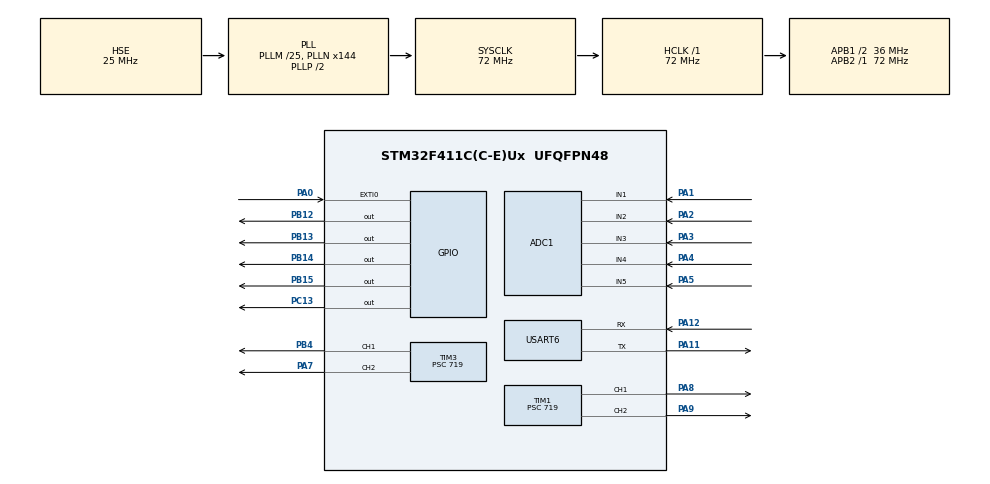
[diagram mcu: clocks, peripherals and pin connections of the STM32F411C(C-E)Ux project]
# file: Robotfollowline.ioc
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ADC1.Channel-1\#ChannelRegularConversion=ADC_CHANNEL_1
ADC1.Channel-2\#ChannelRegularConversion=ADC_CHANNEL_1
ADC1.Channel-3\#ChannelRegularConversion=ADC_CHANNEL_3
ADC1.Channel-4\#ChannelRegularConversion=ADC_CHANNEL_4
ADC1.Channel-5\#ChannelRegularConversion=ADC_CHANNEL_5
ADC1.ContinuousConvMode=ENABLE
ADC1.DMAContinuousRequests=ENABLE
ADC1.InjNumberOfConversion=0
ADC1.NbrOfConversion=5
ADC1.NbrOfConversionFlag=1
ADC1.Rank-1\#ChannelRegularConversion=1
ADC1.Rank-2\#ChannelRegularConversion=2
ADC1.Rank-3\#ChannelRegularConversion=3
ADC1.Rank-4\#ChannelRegularConversion=4
ADC1.Rank-5\#ChannelRegularConversion=5
ADC1.SamplingTime-1\#ChannelRegularConversion=ADC_SAMPLETIME_56CYCLES
ADC1.SamplingTime-2\#ChannelRegularConversion=ADC_SAMPLETIME_56CYCLES
ADC1.SamplingTime-3\#ChannelRegularConversion=ADC_SAMPLETIME_56CYCLES
ADC1.SamplingTime-4\#ChannelRegularConversion=ADC_SAMPLETIME_56CYCLES
ADC1.SamplingTime-5\#ChannelRegularConversion=ADC_SAMPLETIME_56CYCLES
ADC1.master=1
Dma.ADC1.0.Direction=DMA_PERIPH_TO_MEMORY
Dma.ADC1.0.FIFOMode=DMA_FIFOMODE_DISABLE
Dma.ADC1.0.Instance=DMA2_Stream0
Dma.ADC1.0.MemDataAlignment=DMA_MDATAALIGN_HALFWORD
Dma.ADC1.0.MemInc=DMA_MINC_ENABLE
Dma.ADC1.0.Mode=DMA_CIRCULAR
Dma.ADC1.0.PeriphDataAlignment=DMA_PDATAALIGN_HALFWORD
Dma.ADC1.0.PeriphInc=DMA_PINC_DISABLE
Dma.ADC1.0.Priority=DMA_PRIORITY_LOW
Dma.Request0=ADC1
Dma.Request1=TIM1_CH1
Dma.Request2=TIM1_CH2
Dma.Request3=TIM3_CH1/TRIG
Dma.Request4=TIM3_CH2
Dma.TIM1_CH1.1.Direction=DMA_MEMORY_TO_PERIPH
Dma.TIM1_CH1.1.FIFOMode=DMA_FIFOMODE_DISABLE
Dma.TIM1_CH1.1.Instance=DMA2_Stream1
Dma.TIM1_CH1.1.MemDataAlignment=DMA_MDATAALIGN_HALFWORD
Dma.TIM1_CH1.1.MemInc=DMA_MINC_ENABLE
Dma.TIM1_CH1.1.Mode=DMA_NORMAL
Dma.TIM1_CH1.1.PeriphDataAlignment=DMA_PDATAALIGN_HALFWORD
Dma.TIM1_CH1.1.PeriphInc=DMA_PINC_DISABLE
Dma.TIM1_CH1.1.Priority=DMA_PRIORITY_LOW
Dma.TIM1_CH2.2.Direction=DMA_MEMORY_TO_PERIPH
Dma.TIM1_CH2.2.FIFOMode=DMA_FIFOMODE_DISABLE
Dma.TIM1_CH2.2.Instance=DMA2_Stream2
Dma.TIM1_CH2.2.MemDataAlignment=DMA_MDATAALIGN_HALFWORD
Dma.TIM1_CH2.2.MemInc=DMA_MINC_ENABLE
Dma.TIM1_CH2.2.Mode=DMA_NORMAL
Dma.TIM1_CH2.2.PeriphDataAlignment=DMA_PDATAALIGN_HALFWORD
Dma.TIM1_CH2.2.PeriphInc=DMA_PINC_DISABLE
Dma.TIM1_CH2.2.Priority=DMA_PRIORITY_LOW
Dma.TIM3_CH1/TRIG.3.Direction=DMA_MEMORY_TO_PERIPH
Dma.TIM3_CH1/TRIG.3.FIFOMode=DMA_FIFOMODE_DISABLE
Dma.TIM3_CH1/TRIG.3.Instance=DMA1_Stream4
Dma.TIM3_CH1/TRIG.3.MemDataAlignment=DMA_MDATAALIGN_HALFWORD
Dma.TIM3_CH1/TRIG.3.MemInc=DMA_MINC_ENABLE
Dma.TIM3_CH1/TRIG.3.Mode=DMA_NORMAL
Dma.TIM3_CH1/TRIG.3.PeriphDataAlignment=DMA_PDATAALIGN_HALFWORD
Dma.TIM3_CH1/TRIG.3.PeriphInc=DMA_PINC_DISABLE
Dma.TIM3_CH1/TRIG.3.Priority=DMA_PRIORITY_LOW
Dma.TIM3_CH2.4.Direction=DMA_MEMORY_TO_PERIPH
Dma.TIM3_CH2.4.FIFOMode=DMA_FIFOMODE_DISABLE
Dma.TIM3_CH2.4.Instance=DMA1_Stream5
Dma.TIM3_CH2.4.MemDataAlignment=DMA_MDATAALIGN_HALFWORD
Dma.TIM3_CH2.4.MemInc=DMA_MINC_ENABLE
Dma.TIM3_CH2.4.Mode=DMA_NORMAL
Dma.TIM3_CH2.4.PeriphDataAlignment=DMA_PDATAALIGN_HALFWORD
Dma.TIM3_CH2.4.PeriphInc=DMA_PINC_DISABLE
Dma.TIM3_CH2.4.Priority=DMA_PRIORITY_LOW
Mcu.Family=STM32F4
Mcu.Name=STM32F411C(C-E)Ux
Mcu.Package=UFQFPN48
NVIC.DMA1_Stream4_IRQn=true\:0\:0\:false\:false\:true\:false\:true\:true
NVIC.DMA1_Stream5_IRQn=true\:0\:0\:false\:false\:true\:false\:true\:true
NVIC.DMA2_Stream0_IRQn=true\:0\:0\:false\:false\:true\:false\:true\:true
NVIC.DMA2_Stream1_IRQn=true\:0\:0\:false\:false\:true\:false\:true\:true
NVIC.DMA2_Stream2_IRQn=true\:0\:0\:false\:false\:true\:false\:true\:true
NVIC.EXTI0_IRQn=true\:0\:0\:false\:false\:true\:true\:true\:true
NVIC.PriorityGroup=NVIC_PRIORITYGROUP_4
PA0-WKUP.GPIO_PuPd=GPIO_PULLUP
PA0-WKUP.Signal=GPXTI0
PA1.Signal=ADCx_IN1
PA11.Mode=Asynchronous
PA11.Signal=USART6_TX
PA12.Mode=Asynchronous
PA12.Signal=USART6_RX
PA13.Mode=Serial_Wire
PA13.Signal=SYS_JTMS-SWDIO
PA14.Mode=Serial_Wire
PA14.Signal=SYS_JTCK-SWCLK
PA2.Signal=ADCx_IN2
PA3.Signal=ADCx_IN3
PA4.Signal=ADCx_IN4
PA5.Signal=ADCx_IN5
PA7.Signal=S_TIM3_CH2
PA8.Signal=S_TIM1_CH1
PA9.Signal=S_TIM1_CH2
PB12.Signal=GPIO_Output
PB13.Signal=GPIO_Output
PB14.Signal=GPIO_Output
PB15.Signal=GPIO_Output
PB4.Signal=S_TIM3_CH1
PC13-ANTI_TAMP.Signal=GPIO_Output
PH0\ -\ OSC_IN.Mode=HSE-External-Oscillator
PH0\ -\ OSC_IN.Signal=RCC_OSC_IN
PH1\ -\ OSC_OUT.Mode=HSE-External-Oscillator
PH1\ -\ OSC_OUT.Signal=RCC_OSC_OUT
ProjectManager.HeapSize=0x200
ProjectManager.StackSize=0x400
ProjectManager.TargetToolchain=MDK-ARM V5.32
RCC.48MHZClocksFreq_Value=36000000
RCC.AHBFreq_Value=72000000
RCC.APB1CLKDivider=RCC_HCLK_DIV2
RCC.APB1Freq_Value=36000000
RCC.APB1TimFreq_Value=72000000
RCC.APB2Freq_Value=72000000
RCC.APB2TimFreq_Value=72000000
RCC.CortexFreq_Value=72000000
RCC.HCLKFreq_Value=72000000
RCC.HSE_VALUE=25000000
RCC.HSI_VALUE=16000000
RCC.LSE_VALUE=32768
RCC.PLLM=25
RCC.PLLN=144
RCC.PLLSourceVirtual=RCC_PLLSOURCE_HSE
RCC.SYSCLKFreq_VALUE=72000000
RCC.SYSCLKSource=RCC_SYSCLKSOURCE_PLLCLK
RCC.VCOOutputFreq_Value=144000000
SH.ADCx_IN1.0=ADC1_IN1,IN1
SH.ADCx_IN2.0=ADC1_IN2,IN2
SH.ADCx_IN3.0=ADC1_IN3,IN3
SH.ADCx_IN4.0=ADC1_IN4,IN4
SH.ADCx_IN5.0=ADC1_IN5,IN5
SH.S_TIM1_CH1.0=TIM1_CH1,PWM Generation1 CH1
SH.S_TIM1_CH2.0=TIM1_CH2,PWM Generation2 CH2
SH.S_TIM3_CH1.0=TIM3_CH1,PWM Generation1 CH1
SH.S_TIM3_CH2.0=TIM3_CH2,PWM Generation2 CH2
TIM1.Channel-PWM\ Generation1\ CH1=TIM_CHANNEL_1
TIM1.Channel-PWM\ Generation2\ CH2=TIM_CHANNEL_2
TIM1.Period=299
TIM1.Prescaler=719
TIM3.Channel-PWM\ Generation1\ CH1=TIM_CHANNEL_1
TIM3.Channel-PWM\ Generation2\ CH2=TIM_CHANNEL_2
TIM3.Period=999
TIM3.Prescaler=719
USART6.VirtualMode=VM_ASYNC
VP_TIM1_VS_ClockSourceINT.Mode=Internal
VP_TIM3_VS_ClockSourceINT.Mode=Internal
board=custom

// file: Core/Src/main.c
/* USER CODE BEGIN Header */
/**
  ******************************************************************************
  * @file           : main.c
  * @brief          : Main program body
  ******************************************************************************
  * @attention
  *
  * Copyright (c) 2024 STMicroelectronics.
  * All rights reserved.
  *
  * This software is licensed under terms that can be found in the LICENSE file
  * in the root directory of this software component.
  * If no LICENSE file comes with this software, it is provided AS-IS.
  *
  ******************************************************************************
  */
/* USER CODE END Header */
#include "main.h"

/* USER CODE BEGIN Includes */
#include "control.h"
/* USER CODE END Includes */

ADC_HandleTypeDef hadc1;
DMA_HandleTypeDef hdma_adc1;

TIM_HandleTypeDef htim1;
TIM_HandleTypeDef htim3;
DMA_HandleTypeDef hdma_tim1_ch1;
DMA_HandleTypeDef hdma_tim1_ch2;
DMA_HandleTypeDef hdma_tim3_ch1_trig;
DMA_HandleTypeDef hdma_tim3_ch2;

UART_HandleTypeDef huart6;

void SystemClock_Config(void);
static void MX_GPIO_Init(void);
static void MX_DMA_Init(void);
static void MX_ADC1_Init(void);
static void MX_TIM1_Init(void);
static void MX_USART6_UART_Init(void);
static void MX_TIM3_Init(void);

/* USER CODE BEGIN 0 */
uint16_t data[5];
uint32_t time;
int count=0;
int mode;

// Chon che do qua nut nhan
void EXTI0_IRQHandler(void)
{
	count++;
	if(count==10){
		count=0;
	}
	mode=count%2;
  HAL_GPIO_EXTI_IRQHandler(GPIO_PIN_0);
}

// Che do Auto
void AutoMode(void){
	if(HAL_GetTick()-time>10){//Thoi gian lay mau = 10 ms
		HAL_GPIO_WritePin(GPIOC,GPIO_PIN_13,GPIO_PIN_RESET);//LED on
		follow_line();
		PD_Control(20,5);
		time=HAL_GetTick();
	}
}

void ManualMode(void){
	char rxbuffer[1];
	HAL_GPIO_WritePin(GPIOC,GPIO_PIN_13,GPIO_PIN_SET);//LED off
	HAL_UART_Receive(&huart6, (uint8_t*)rxbuffer, 1,1000);
	switch (*rxbuffer) {
			case 'S':  // Stop
					TIM1->CCR1 = 0;
					TIM1->CCR2 = 0;
					break;

			case 'F':  // Forward
					tien();
					TIM1->CCR1 = 100;
					TIM1->CCR2 = 100;
					break;

			case 'B':  // Backward
					lui();
					TIM1->CCR1 = 100;
					TIM1->CCR2 = 100;
					break;

			case 'L':  // Turn left
					tien();
					TIM1->CCR1 = 100;
					TIM1->CCR2 = 0;
					break;

			case 'R':  // Turn right
					tien();
					TIM1->CCR1 = 0;
					TIM1->CCR2 = 100;
					break;

			default:
					break;
	}
}

/* USER CODE END 0 */

int main(void)
{

  /* MCU Configuration--------------------------------------------------------*/

  /* Reset of all peripherals, Initializes the Flash interface and the Systick. */
  HAL_Init();

  /* Configure the system clock */
  SystemClock_Config();

  /* Initialize all configured peripherals */
  MX_GPIO_Init();
  MX_DMA_Init();
  MX_ADC1_Init();
  MX_TIM1_Init();
  MX_USART6_UART_Init();
  MX_TIM3_Init();
  /* USER CODE BEGIN 2 */
	HAL_ADC_Start_DMA(&hadc1, (uint32_t*)data, 5);
	time=HAL_GetTick();
	tien();

  /* USER CODE END 2 */

  /* Infinite loop */
  while (1)
  {

    /* USER CODE BEGIN 3 */
		if(mode==0){//Auto
			AutoMode();
		}
		if(mode==1){//Manual
			ManualMode();
		}
  }
  /* USER CODE END 3 */
}

void SystemClock_Config(void)
{
  RCC_OscInitTypeDef RCC_OscInitStruct = {0};
  RCC_ClkInitTypeDef RCC_ClkInitStruct = {0};

  /** Configure the main internal regulator output voltage
  */
  __HAL_RCC_PWR_CLK_ENABLE();
  __HAL_PWR_VOLTAGESCALING_CONFIG(PWR_REGULATOR_VOLTAGE_SCALE1);

  /** Initializes the RCC Oscillators according to the specified parameters
  * in the RCC_OscInitTypeDef structure.
  */
  RCC_OscInitStruct.OscillatorType = RCC_OSCILLATORTYPE_HSE;
  RCC_OscInitStruct.HSEState = RCC_HSE_ON;
  RCC_OscInitStruct.PLL.PLLState = RCC_PLL_ON;
  RCC_OscInitStruct.PLL.PLLSource = RCC_PLLSOURCE_HSE;
  RCC_OscInitStruct.PLL.PLLM = 25;
  RCC_OscInitStruct.PLL.PLLN = 144;
  RCC_OscInitStruct.PLL.PLLP = RCC_PLLP_DIV2;
  RCC_OscInitStruct.PLL.PLLQ = 4;
  if (HAL_RCC_OscConfig(&RCC_OscInitStruct) != HAL_OK)
  {
    Error_Handler();
  }

  /** Initializes the CPU, AHB and APB buses clocks
  */
  RCC_ClkInitStruct.ClockType = RCC_CLOCKTYPE_HCLK|RCC_CLOCKTYPE_SYSCLK
                              |RCC_CLOCKTYPE_PCLK1|RCC_CLOCKTYPE_PCLK2;
  RCC_ClkInitStruct.SYSCLKSource = RCC_SYSCLKSOURCE_PLLCLK;
  RCC_ClkInitStruct.AHBCLKDivider = RCC_SYSCLK_DIV1;
  RCC_ClkInitStruct.APB1CLKDivider = RCC_HCLK_DIV2;
  RCC_ClkInitStruct.APB2CLKDivider = RCC_HCLK_DIV1;

  if (HAL_RCC_ClockConfig(&RCC_ClkInitStruct, FLASH_LATENCY_2) != HAL_OK)
  {
    Error_Handler();
  }
}

static void MX_ADC1_Init(void)
{

  ADC_ChannelConfTypeDef sConfig = {0};

  /** Configure the global features of the ADC (Clock, Resolution, Data Alignment and number of conversion)
  */
  hadc1.Instance = ADC1;
  hadc1.Init.ClockPrescaler = ADC_CLOCK_SYNC_PCLK_DIV2;
  hadc1.Init.Resolution = ADC_RESOLUTION_12B;
  hadc1.Init.ScanConvMode = ENABLE;
  hadc1.Init.ContinuousConvMode = ENABLE;
  hadc1.Init.DiscontinuousConvMode = DISABLE;
  hadc1.Init.ExternalTrigConvEdge = ADC_EXTERNALTRIGCONVEDGE_NONE;
  hadc1.Init.ExternalTrigConv = ADC_SOFTWARE_START;
  hadc1.Init.DataAlign = ADC_DATAALIGN_RIGHT;
  hadc1.Init.NbrOfConversion = 5;
  hadc1.Init.DMAContinuousRequests = ENABLE;
  hadc1.Init.EOCSelection = ADC_EOC_SINGLE_CONV;
  if (HAL_ADC_Init(&hadc1) != HAL_OK)
  {
    Error_Handler();
  }

  /** Configure for the selected ADC regular channel its corresponding rank in the sequencer and its sample time.
  */
  sConfig.Channel = ADC_CHANNEL_1;
  sConfig.Rank = 1;
  sConfig.SamplingTime = ADC_SAMPLETIME_56CYCLES;
  if (HAL_ADC_ConfigChannel(&hadc1, &sConfig) != HAL_OK)
  {
    Error_Handler();
  }

  /** Configure for the selected ADC regular channel its corresponding rank in the sequencer and its sample time.
  */
  sConfig.Rank = 2;
  if (HAL_ADC_ConfigChannel(&hadc1, &sConfig) != HAL_OK)
  {
    Error_Handler();
  }

  /** Configure for the selected ADC regular channel its corresponding rank in the sequencer and its sample time.
  */
  sConfig.Channel = ADC_CHANNEL_3;
  sConfig.Rank = 3;
  if (HAL_ADC_ConfigChannel(&hadc1, &sConfig) != HAL_OK)
  {
    Error_Handler();
  }

  /** Configure for the selected ADC regular channel its corresponding rank in the sequencer and its sample time.
  */
  sConfig.Channel = ADC_CHANNEL_4;
  sConfig.Rank = 4;
  if (HAL_ADC_ConfigChannel(&hadc1, &sConfig) != HAL_OK)
  {
    Error_Handler();
  }

  /** Configure for the selected ADC regular channel its corresponding rank in the sequencer and its sample time.
  */
  sConfig.Channel = ADC_CHANNEL_5;
  sConfig.Rank = 5;
  if (HAL_ADC_ConfigChannel(&hadc1, &sConfig) != HAL_OK)
  {
    Error_Handler();
  }

}

static void MX_TIM1_Init(void)
{

  TIM_ClockConfigTypeDef sClockSourceConfig = {0};
  TIM_MasterConfigTypeDef sMasterConfig = {0};
  TIM_OC_InitTypeDef sConfigOC = {0};
  TIM_BreakDeadTimeConfigTypeDef sBreakDeadTimeConfig = {0};

  htim1.Instance = TIM1;
  htim1.Init.Prescaler = 719;
  htim1.Init.CounterMode = TIM_COUNTERMODE_UP;
  htim1.Init.Period = 299;
  htim1.Init.ClockDivision = TIM_CLOCKDIVISION_DIV1;
  htim1.Init.RepetitionCounter = 0;
  htim1.Init.AutoReloadPreload = TIM_AUTORELOAD_PRELOAD_DISABLE;
  if (HAL_TIM_Base_Init(&htim1) != HAL_OK)
  {
    Error_Handler();
  }
  sClockSourceConfig.ClockSource = TIM_CLOCKSOURCE_INTERNAL;
  if (HAL_TIM_ConfigClockSource(&htim1, &sClockSourceConfig) != HAL_OK)
  {
    Error_Handler();
  }
  if (HAL_TIM_PWM_Init(&htim1) != HAL_OK)
  {
    Error_Handler();
  }
  sMasterConfig.MasterOutputTrigger = TIM_TRGO_RESET;
  sMasterConfig.MasterSlaveMode = TIM_MASTERSLAVEMODE_DISABLE;
  if (HAL_TIMEx_MasterConfigSynchronization(&htim1, &sMasterConfig) != HAL_OK)
  {
    Error_Handler();
  }
  sConfigOC.OCMode = TIM_OCMODE_PWM1;
  sConfigOC.Pulse = 0;
  sConfigOC.OCPolarity = TIM_OCPOLARITY_HIGH;
  sConfigOC.OCNPolarity = TIM_OCNPOLARITY_HIGH;
  sConfigOC.OCFastMode = TIM_OCFAST_DISABLE;
  sConfigOC.OCIdleState = TIM_OCIDLESTATE_RESET;
  sConfigOC.OCNIdleState = TIM_OCNIDLESTATE_RESET;
  if (HAL_TIM_PWM_ConfigChannel(&htim1, &sConfigOC, TIM_CHANNEL_1) != HAL_OK)
  {
    Error_Handler();
  }
  if (HAL_TIM_PWM_ConfigChannel(&htim1, &sConfigOC, TIM_CHANNEL_2) != HAL_OK)
  {
    Error_Handler();
  }
  sBreakDeadTimeConfig.OffStateRunMode = TIM_OSSR_DISABLE;
  sBreakDeadTimeConfig.OffStateIDLEMode = TIM_OSSI_DISABLE;
  sBreakDeadTimeConfig.LockLevel = TIM_LOCKLEVEL_OFF;
  sBreakDeadTimeConfig.DeadTime = 0;
  sBreakDeadTimeConfig.BreakState = TIM_BREAK_DISABLE;
  sBreakDeadTimeConfig.BreakPolarity = TIM_BREAKPOLARITY_HIGH;
  sBreakDeadTimeConfig.AutomaticOutput = TIM_AUTOMATICOUTPUT_DISABLE;
  if (HAL_TIMEx_ConfigBreakDeadTime(&htim1, &sBreakDeadTimeConfig) != HAL_OK)
  {
    Error_Handler();
  }
  HAL_TIM_MspPostInit(&htim1);

}

static void MX_TIM3_Init(void)
{

  TIM_ClockConfigTypeDef sClockSourceConfig = {0};
  TIM_MasterConfigTypeDef sMasterConfig = {0};
  TIM_OC_InitTypeDef sConfigOC = {0};

  htim3.Instance = TIM3;
  htim3.Init.Prescaler = 719;
  htim3.Init.CounterMode = TIM_COUNTERMODE_UP;
  htim3.Init.Period = 999;
  htim3.Init.ClockDivision = TIM_CLOCKDIVISION_DIV1;
  htim3.Init.AutoReloadPreload = TIM_AUTORELOAD_PRELOAD_DISABLE;
  if (HAL_TIM_Base_Init(&htim3) != HAL_OK)
  {
    Error_Handler();
  }
  sClockSourceConfig.ClockSource = TIM_CLOCKSOURCE_INTERNAL;
  if (HAL_TIM_ConfigClockSource(&htim3, &sClockSourceConfig) != HAL_OK)
  {
    Error_Handler();
  }
  if (HAL_TIM_PWM_Init(&htim3) != HAL_OK)
  {
    Error_Handler();
  }
  sMasterConfig.MasterOutputTrigger = TIM_TRGO_RESET;
  sMasterConfig.MasterSlaveMode = TIM_MASTERSLAVEMODE_DISABLE;
  if (HAL_TIMEx_MasterConfigSynchronization(&htim3, &sMasterConfig) != HAL_OK)
  {
    Error_Handler();
  }
  sConfigOC.OCMode = TIM_OCMODE_PWM1;
  sConfigOC.Pulse = 0;
  sConfigOC.OCPolarity = TIM_OCPOLARITY_HIGH;
  sConfigOC.OCFastMode = TIM_OCFAST_DISABLE;
  if (HAL_TIM_PWM_ConfigChannel(&htim3, &sConfigOC, TIM_CHANNEL_1) != HAL_OK)
  {
    Error_Handler();
  }
  if (HAL_TIM_PWM_ConfigChannel(&htim3, &sConfigOC, TIM_CHANNEL_2) != HAL_OK)
  {
    Error_Handler();
  }
  HAL_TIM_MspPostInit(&htim3);

}

static void MX_USART6_UART_Init(void)
{

  huart6.Instance = USART6;
  huart6.Init.BaudRate = 115200;
  huart6.Init.WordLength = UART_WORDLENGTH_8B;
  huart6.Init.StopBits = UART_STOPBITS_1;
  huart6.Init.Parity = UART_PARITY_NONE;
  huart6.Init.Mode = UART_MODE_TX_RX;
  huart6.Init.HwFlowCtl = UART_HWCONTROL_NONE;
  huart6.Init.OverSampling = UART_OVERSAMPLING_16;
  if (HAL_UART_Init(&huart6) != HAL_OK)
  {
    Error_Handler();
  }

}

static void MX_DMA_Init(void)
{

  /* DMA controller clock enable */
  __HAL_RCC_DMA2_CLK_ENABLE();
  __HAL_RCC_DMA1_CLK_ENABLE();

  /* DMA interrupt init */
  /* DMA1_Stream4_IRQn interrupt configuration */
  HAL_NVIC_SetPriority(DMA1_Stream4_IRQn, 0, 0);
  HAL_NVIC_EnableIRQ(DMA1_Stream4_IRQn);
  /* DMA1_Stream5_IRQn interrupt configuration */
  HAL_NVIC_SetPriority(DMA1_Stream5_IRQn, 0, 0);
  HAL_NVIC_EnableIRQ(DMA1_Stream5_IRQn);
  /* DMA2_Stream0_IRQn interrupt configuration */
  HAL_NVIC_SetPriority(DMA2_Stream0_IRQn, 0, 0);
  HAL_NVIC_EnableIRQ(DMA2_Stream0_IRQn);
  /* DMA2_Stream1_IRQn interrupt configuration */
  HAL_NVIC_SetPriority(DMA2_Stream1_IRQn, 0, 0);
  HAL_NVIC_EnableIRQ(DMA2_Stream1_IRQn);
  /* DMA2_Stream2_IRQn interrupt configuration */
  HAL_NVIC_SetPriority(DMA2_Stream2_IRQn, 0, 0);
  HAL_NVIC_EnableIRQ(DMA2_Stream2_IRQn);

}

static void MX_GPIO_Init(void)
{
  GPIO_InitTypeDef GPIO_InitStruct = {0};

  /* GPIO Ports Clock Enable */
  __HAL_RCC_GPIOC_CLK_ENABLE();
  __HAL_RCC_GPIOH_CLK_ENABLE();
  __HAL_RCC_GPIOA_CLK_ENABLE();
  __HAL_RCC_GPIOB_CLK_ENABLE();

  /*Configure GPIO pin Output Level */
  HAL_GPIO_WritePin(GPIOC, GPIO_PIN_13, GPIO_PIN_RESET);

  /*Configure GPIO pin Output Level */
  HAL_GPIO_WritePin(GPIOB, GPIO_PIN_12|GPIO_PIN_13|GPIO_PIN_14|GPIO_PIN_15, GPIO_PIN_RESET);

  /*Configure GPIO pin : PC13 */
  GPIO_InitStruct.Pin = GPIO_PIN_13;
  GPIO_InitStruct.Mode = GPIO_MODE_OUTPUT_PP;
  GPIO_InitStruct.Pull = GPIO_NOPULL;
  GPIO_InitStruct.Speed = GPIO_SPEED_FREQ_LOW;
  HAL_GPIO_Init(GPIOC, &GPIO_InitStruct);

  /*Configure GPIO pin : PA0 */
  GPIO_InitStruct.Pin = GPIO_PIN_0;
  GPIO_InitStruct.Mode = GPIO_MODE_IT_RISING;
  GPIO_InitStruct.Pull = GPIO_PULLUP;
  HAL_GPIO_Init(GPIOA, &GPIO_InitStruct);

  /*Configure GPIO pins : PB12 PB13 PB14 PB15 */
  GPIO_InitStruct.Pin = GPIO_PIN_12|GPIO_PIN_13|GPIO_PIN_14|GPIO_PIN_15;
  GPIO_InitStruct.Mode = GPIO_MODE_OUTPUT_PP;
  GPIO_InitStruct.Pull = GPIO_NOPULL;
  GPIO_InitStruct.Speed = GPIO_SPEED_FREQ_LOW;
  HAL_GPIO_Init(GPIOB, &GPIO_InitStruct);

  /* EXTI interrupt init*/
  HAL_NVIC_SetPriority(EXTI0_IRQn, 0, 0);
  HAL_NVIC_EnableIRQ(EXTI0_IRQn);

}

void Error_Handler(void)
{
  __disable_irq();
  while (1)
  {
  }
}
